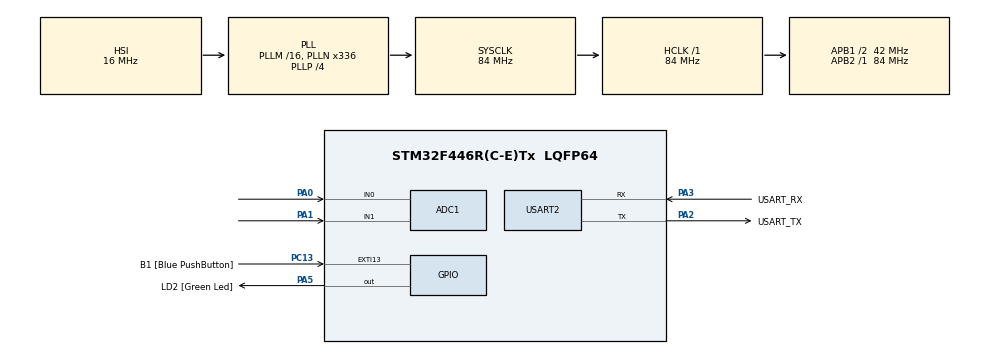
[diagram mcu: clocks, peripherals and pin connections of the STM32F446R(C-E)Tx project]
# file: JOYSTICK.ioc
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ADC1.Channel-4\#ChannelRegularConversion=ADC_CHANNEL_0
ADC1.Channel-5\#ChannelRegularConversion=ADC_CHANNEL_1
ADC1.ContinuousConvMode=ENABLE
ADC1.DMAContinuousRequests=ENABLE
ADC1.NbrOfConversion=2
ADC1.NbrOfConversionFlag=1
ADC1.Rank-4\#ChannelRegularConversion=1
ADC1.Rank-5\#ChannelRegularConversion=2
ADC1.SamplingTime-4\#ChannelRegularConversion=ADC_SAMPLETIME_480CYCLES
ADC1.SamplingTime-5\#ChannelRegularConversion=ADC_SAMPLETIME_480CYCLES
ADC1.ScanConvMode=ENABLE
ADC1.master=1
Dma.ADC1.0.Direction=DMA_PERIPH_TO_MEMORY
Dma.ADC1.0.FIFOMode=DMA_FIFOMODE_DISABLE
Dma.ADC1.0.Instance=DMA2_Stream0
Dma.ADC1.0.MemDataAlignment=DMA_MDATAALIGN_HALFWORD
Dma.ADC1.0.MemInc=DMA_MINC_ENABLE
Dma.ADC1.0.Mode=DMA_CIRCULAR
Dma.ADC1.0.PeriphDataAlignment=DMA_PDATAALIGN_HALFWORD
Dma.ADC1.0.PeriphInc=DMA_PINC_DISABLE
Dma.ADC1.0.Priority=DMA_PRIORITY_MEDIUM
Dma.Request0=ADC1
Mcu.Family=STM32F4
Mcu.Name=STM32F446R(C-E)Tx
Mcu.Package=LQFP64
NVIC.DMA2_Stream0_IRQn=true\:0\:0\:false\:false\:true\:false\:true\:true
NVIC.PriorityGroup=NVIC_PRIORITYGROUP_0
NVIC.TIM2_IRQn=true\:0\:0\:false\:false\:true\:true\:true\:true
PA0-WKUP.Signal=ADCx_IN0
PA1.Signal=ADCx_IN1
PA13.GPIO_Label=TMS
PA13.Mode=Serial_Wire
PA13.Signal=SYS_JTMS-SWDIO
PA14.GPIO_Label=TCK
PA14.Mode=Serial_Wire
PA14.Signal=SYS_JTCK-SWCLK
PA2.GPIO_Label=USART_TX
PA2.Mode=Asynchronous
PA2.Signal=USART2_TX
PA3.GPIO_Label=USART_RX
PA3.Mode=Asynchronous
PA3.Signal=USART2_RX
PA5.GPIO_Label=LD2 [Green Led]
PA5.Signal=GPIO_Output
PB3.GPIO_Label=SWO
PB3.Signal=SYS_JTDO-SWO
PC13.GPIO_Label=B1 [Blue PushButton]
PC13.GPIO_ModeDefaultEXTI=GPIO_MODE_IT_FALLING
PC13.Signal=GPXTI13
PC14-OSC32_IN.Signal=RCC_OSC32_IN
PC15-OSC32_OUT.Signal=RCC_OSC32_OUT
PH0-OSC_IN.Signal=RCC_OSC_IN
PH1-OSC_OUT.Signal=RCC_OSC_OUT
ProjectManager.HeapSize=0x200
ProjectManager.StackSize=0x400
ProjectManager.TargetToolchain=STM32CubeIDE
RCC.48MHZClocksFreq_Value=84000000
RCC.AHBFreq_Value=84000000
RCC.APB1CLKDivider=RCC_HCLK_DIV2
RCC.APB1Freq_Value=42000000
RCC.APB1TimFreq_Value=84000000
RCC.APB2Freq_Value=84000000
RCC.APB2TimFreq_Value=84000000
RCC.CortexFreq_Value=84000000
RCC.FLatency-AdvancedSettings=FLASH_LATENCY_2
RCC.HCLKFreq_Value=84000000
RCC.HSE_VALUE=8000000
RCC.HSI_VALUE=16000000
RCC.PLLN=336
RCC.PLLP=RCC_PLLP_DIV4
RCC.SYSCLKFreq_VALUE=84000000
RCC.SYSCLKSource=RCC_SYSCLKSOURCE_PLLCLK
RCC.USBFreq_Value=168000000
RCC.VCOOutputFreq_Value=336000000
SH.ADCx_IN0.0=ADC1_IN0,IN0
SH.ADCx_IN1.0=ADC1_IN1,IN1
TIM2.Period=499
TIM2.Prescaler=8399
USART2.VirtualMode=VM_ASYNC
VP_TIM2_VS_ClockSourceINT.Mode=Internal
board=NUCLEO-F446RE

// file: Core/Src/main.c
/* USER CODE BEGIN Header */
/**
  ******************************************************************************
  * @file           : main.c
  * @brief          : Main program body
  ******************************************************************************
  * @attention
  *
  * Copyright (c) 2026 STMicroelectronics.
  * All rights reserved.
  *
  * This software is licensed under terms that can be found in the LICENSE file
  * in the root directory of this software component.
  * If no LICENSE file comes with this software, it is provided AS-IS.
  *
  ******************************************************************************
  */
/* USER CODE END Header */
#include "main.h"

/* USER CODE BEGIN Includes */
#include <stdio.h>
#include <string.h>
/* USER CODE END Includes */

/* USER CODE BEGIN PD */
#define ADC_BUFFER_SIZE 2
#define FILTER_SIZE 8        // 이동평균 필터 크기
#define ADC_MAX_VALUE 4095   // 12bit ADC 최대값
#define DEADZONE_THRESHOLD 20  // 중앙 데드존 임계값 (%)
/* USER CODE END PD */

ADC_HandleTypeDef hadc1;
DMA_HandleTypeDef hdma_adc1;

TIM_HandleTypeDef htim2;

UART_HandleTypeDef huart2;

/* USER CODE BEGIN PV */
uint16_t adc_buffer[ADC_BUFFER_SIZE];  // DMA 버퍼
uint16_t joystick_x_raw = 0;           // 조이스틱 X축 원시값
uint16_t joystick_y_raw = 0;           // 조이스틱 Y축 원시값
// 이동평균 필터를 위한 배열
uint32_t x_filter_buffer[FILTER_SIZE] = {0};
uint32_t y_filter_buffer[FILTER_SIZE] = {0};
uint8_t filter_index = 0;

// 필터링된 값
uint16_t joystick_x_filtered = 0;
uint16_t joystick_y_filtered = 0;

// 백분율로 변환된 값 (-100 ~ +100)
int16_t joystick_x_percent = 0;
int16_t joystick_y_percent = 0;

// 방향 문자
char direction_char = 'X';
char prev_direction_char = 'X';

char uart_buffer[100];
/* USER CODE END PV */

void SystemClock_Config(void);
static void MX_GPIO_Init(void);
static void MX_DMA_Init(void);
static void MX_USART2_UART_Init(void);
static void MX_ADC1_Init(void);
static void MX_TIM2_Init(void);
/* USER CODE BEGIN PFP */
void process_joystick_data(void);
uint16_t apply_moving_average_filter(uint16_t new_value, uint32_t *filter_buffer);
int16_t convert_to_percentage(uint16_t adc_value);
char get_direction_char(int16_t x_percent, int16_t y_percent);
/* USER CODE END PFP */

/* USER CODE BEGIN 0 */
#ifdef __GNUC__
/* With GCC, small printf (option LD Linker->Libraries->Small printf
   set to 'Yes') calls __io_putchar() */
#define PUTCHAR_PROTOTYPE int __io_putchar(int ch)
#else
#define PUTCHAR_PROTOTYPE int fputc(int ch, FILE *f)
#endif /* __GNUC__ */

/**
  * @brief  Retargets the C library printf function to the USART.
  * @param  None
  * @retval None
  */
PUTCHAR_PROTOTYPE
{
  /* Place your implementation of fputc here */
  /* e.g. write a character to the USART1 and Loop until the end of transmission */
  if (ch == '\n')
    HAL_UART_Transmit (&huart2, (uint8_t*) "\r", 1, 0xFFFF);
  HAL_UART_Transmit (&huart2, (uint8_t*) &ch, 1, 0xFFFF);

  return ch;
}

///**
//  * @brief  이동평균 필터 적용
//  * @param  new_value: 새로운 ADC 값
//  * @param  filter_buffer: 필터 버퍼 포인터
//  * @retval 필터링된 값
//  */
//uint16_t apply_moving_average_filter(uint16_t new_value, uint32_t *filter_buffer)
//{
//    static uint8_t x_init = 0, y_init = 0;
//    uint32_t sum = 0;
//
//    // 필터 버퍼 구분 (X축 또는 Y축)
//    if (filter_buffer == x_filter_buffer) {
//        if (!x_init) {
//            // 초기화: 모든 버퍼를 첫 번째 값으로 채움
//            for (int i = 0; i < FILTER_SIZE; i++) {
//                filter_buffer[i] = new_value;
//            }
//            x_init = 1;
//            return new_value;
//        }
//    } else {
//        if (!y_init) {
//            // 초기화: 모든 버퍼를 첫 번째 값으로 채움
//            for (int i = 0; i < FILTER_SIZE; i++) {
//                filter_buffer[i] = new_value;
//            }
//            y_init = 1;
//            return new_value;
//        }
//    }
//
//    // 새로운 값을 버퍼에 추가
//    filter_buffer[filter_index] = new_value;
//
//    // 평균 계산
//    for (int i = 0; i < FILTER_SIZE; i++) {
//        sum += filter_buffer[i];
//    }
//
//    return (uint16_t)(sum / FILTER_SIZE);
//}
//
///**
//  * @brief  ADC 값을 백분율로 변환 (-100 ~ +100)
//  * @param  adc_value: ADC 값 (0 ~ 4095)
//  * @retval 백분율 값
//  */
////int16_t convert_to_percentage(uint16_t adc_value)
////{
////    // ADC 중앙값을 기준으로 -100 ~ +100으로 변환
////    int16_t centered_value = (int16_t)adc_value - (ADC_MAX_VALUE / 2);
////    int16_t percentage = (centered_value * 100) / (ADC_MAX_VALUE / 2);
////
////    // 범위 제한
////    if (percentage > 100) percentage = 100;
////    if (percentage < -100) percentage = -100;
////
////    return percentage;
////}
//
////#define JOY_MIN 600   // 조이스틱을 한쪽 끝으로 밀었을 때 나오는 최소값 (직접 확인 필요)
////#define JOY_MAX 3500  // 조이스틱을 반대쪽 끝으로 밀었을 때 나오는 최대값
////#define JOY_CENTER 2048 // 조이스틱 중앙값
////
////int16_t convert_to_percentage(uint16_t adc_value)
////{
////    int32_t result;
////
////    // 중앙값보다 클 때
////    if (adc_value > JOY_CENTER) {
////        result = ((int32_t)(adc_value - JOY_CENTER) * 100) / (JOY_MAX - JOY_CENTER);
////    }
////    // 중앙값보다 작을 때
////    else {
////        result = ((int32_t)(adc_value - JOY_CENTER) * 100) / (JOY_CENTER - JOY_MIN);
////    }
////
////    // 범위 제한
////    if (result > 100) result = 100;
////    if (result < -100) result = -100;
////
////    return (int16_t)result;
////}
//
////#define RAW_MIN 200    // 실제 조이스틱 최소값
////#define RAW_MAX 3800   // 실제 조이스틱 최대값
////#define RAW_CENTER 2048 // 실제 조이스틱 중앙값
////
////int16_t convert_to_percentage(uint16_t adc_value)
////{
////    int32_t percentage;
////
////    if (adc_value >= RAW_CENTER) {
////        // 중앙값 이상일 때: 0% ~ 100%
////        percentage = ((int32_t)(adc_value - RAW_CENTER) * 100) / (RAW_MAX - RAW_CENTER);
////    } else {
////        // 중앙값 미만일 때: 0% ~ -100%
////        percentage = ((int32_t)(adc_value - RAW_CENTER) * 100) / (RAW_CENTER - RAW_MIN);
////    }
////
////    if (percentage > 100) percentage = 100;
////    if (percentage < -100) percentage = -100;
////
////    return (int16_t)percentage;
////}
//
//// [수정된 설정값]
//// 중앙값은 2048, 4090에 도달하는 순간을 100%로 잡습니다.
//#define RAW_CENTER 2048
//#define RAW_MAX_EFFECTIVE 4090 // 절반만 밀어도 이미 4090이 나오는 지점
//#define RAW_MIN_EFFECTIVE 5    // 반대쪽 끝값 (확인해보고 수정하세요)
//
//int16_t convert_to_percentage(uint16_t adc_value)
//{
//    int32_t percentage;
//
//    // 4090을 넘어가면 강제로 100%로 고정 (클램핑)
//    if (adc_value > RAW_MAX_EFFECTIVE) adc_value = RAW_MAX_EFFECTIVE;
//    if (adc_value < RAW_MIN_EFFECTIVE) adc_value = RAW_MIN_EFFECTIVE;
//
//    if (adc_value >= RAW_CENTER) {
//        // 2048 ~ 4090 구간을 0 ~ 100%로 매핑
//        percentage = ((int32_t)(adc_value - RAW_CENTER) * 100) / (RAW_MAX_EFFECTIVE - RAW_CENTER);
//    } else {
//        // 반대쪽 구간 매핑
//        percentage = ((int32_t)(adc_value - RAW_CENTER) * 100) / (RAW_CENTER - RAW_MIN_EFFECTIVE);
//    }
//
//    return (int16_t)percentage;
//}
//
///**
//  * @brief  조이스틱 데이터 처리
//  * @param  None
//  * @retval None
//  */
//void process_joystick_data(void)
//{
//    // 원시 ADC 값 읽기
//    joystick_x_raw = adc_buffer[0];  // ADC Channel 0 (PA0)
//    joystick_y_raw = adc_buffer[1];  // ADC Channel 1 (PA1)
//
//    // 이동평균 필터 적용
//    joystick_x_filtered = apply_moving_average_filter(joystick_x_raw, x_filter_buffer);
//    joystick_y_filtered = apply_moving_average_filter(joystick_y_raw, y_filter_buffer);
//
//    // 필터 인덱스 업데이트 (두 축 공통 사용)
//    filter_index = (filter_index + 1) % FILTER_SIZE;
//
//    // 백분율로 변환
//    joystick_x_percent = convert_to_percentage(joystick_x_filtered);
//    joystick_y_percent = convert_to_percentage(joystick_y_filtered);
//}
//
///**
//  * @brief  타이머 콜백 함수 (주기적 ADC 읽기용)
//  * @param  htim: 타이머 핸들
//  * @retval None
//  */
//void HAL_TIM_PeriodElapsedCallback(TIM_HandleTypeDef *htim)
//{
//    if (htim->Instance == TIM2) {
//        // 조이스틱 데이터 처리
//        process_joystick_data();
//
//        // UART로 데이터 출력 (디버깅용)
//        printf("X: %d%% (%d), Y: %d%% (%d)\n",
//                joystick_x_percent, joystick_x_filtered,
//                joystick_y_percent, joystick_y_filtered);
//    }
//}

////////wsad//////////////////////////////////////////////////////////////////////////////////////////////////////

uint16_t apply_moving_average_filter(uint16_t new_value, uint32_t *filter_buffer)
{
    static uint8_t x_init = 0, y_init = 0;
    uint32_t sum = 0;

    if (filter_buffer == x_filter_buffer) {
        if (!x_init) {
            for (int i = 0; i < FILTER_SIZE; i++) {
                filter_buffer[i] = new_value;
            }
            x_init = 1;
            return new_value;
        }
    } else {
        if (!y_init) {
            for (int i = 0; i < FILTER_SIZE; i++) {
                filter_buffer[i] = new_value;
            }
            y_init = 1;
            return new_value;
        }
    }

    filter_buffer[filter_index] = new_value;

    for (int i = 0; i < FILTER_SIZE; i++) {
        sum += filter_buffer[i];
    }

    return (uint16_t)(sum / FILTER_SIZE);
}

int16_t convert_to_percentage(uint16_t adc_value)
{
    int16_t centered_value = (int16_t)adc_value - (ADC_MAX_VALUE / 2);
    int16_t percentage = (centered_value * 100) / (ADC_MAX_VALUE / 2);

    if (percentage > 100) percentage = 100;
    if (percentage < -100) percentage = -100;

    return percentage;
}

/**
  * @brief  조이스틱 위치에 따른 방향 문자 반환
  * @param  x_percent: X축 백분율 (-100 ~ +100), 좌(-) / 우(+)
  * @param  y_percent: Y축 백분율 (-100 ~ +100), 후(-) / 전(+)
  * @retval 방향 문자 (W/A/S/D/X)
  */
char get_direction_char(int16_t x_percent, int16_t y_percent)
{
    int16_t abs_x = (x_percent >= 0) ? x_percent : -x_percent;
    int16_t abs_y = (y_percent >= 0) ? y_percent : -y_percent;

    // 데드존 내부 = 중앙 (X)
    if (abs_x < DEADZONE_THRESHOLD && abs_y < DEADZONE_THRESHOLD) {
        return 'X';
    }

    // Y축이 더 크면 전진/후진 우선
    if (abs_y >= abs_x) {
        if (y_percent >= DEADZONE_THRESHOLD) {
            return 'W';  // 전진
        } else if (y_percent <= -DEADZONE_THRESHOLD) {
            return 'S';  // 후진
        }
    }

    // X축이 더 크면 좌회전/우회전
    if (abs_x > abs_y) {
        if (x_percent >= DEADZONE_THRESHOLD) {
            return 'D';  // 우회전
        } else if (x_percent <= -DEADZONE_THRESHOLD) {
            return 'A';  // 좌회전
        }
    }

    return 'X';  // 기본값: 중앙
}

void process_joystick_data(void)
{
    joystick_x_raw = adc_buffer[0];
    joystick_y_raw = adc_buffer[1];

    joystick_x_filtered = apply_moving_average_filter(joystick_x_raw, x_filter_buffer);
    joystick_y_filtered = apply_moving_average_filter(joystick_y_raw, y_filter_buffer);

    filter_index = (filter_index + 1) % FILTER_SIZE;

    joystick_x_percent = convert_to_percentage(joystick_x_filtered);
    joystick_y_percent = convert_to_percentage(joystick_y_filtered);

    // 방향 문자 결정
    direction_char = get_direction_char(joystick_x_percent, joystick_y_percent);
}

void HAL_TIM_PeriodElapsedCallback(TIM_HandleTypeDef *htim)
{
    if (htim->Instance == TIM2) {
        process_joystick_data();

        // 방향이 변경되었을 때만 출력 (또는 항상 출력하려면 조건 제거)
        if (direction_char != prev_direction_char) {
            printf("%c\n", direction_char);
            prev_direction_char = direction_char;
        }

        // 디버깅용: 항상 상세 정보 출력 (필요시 주석 해제)
        // printf("Dir: %c | X: %d%%, Y: %d%%\n",
        //        direction_char, joystick_x_percent, joystick_y_percent);
    }
}

/* USER CODE END 0 */

int main(void)
{

  /* MCU Configuration--------------------------------------------------------*/

  /* Reset of all peripherals, Initializes the Flash interface and the Systick. */
  HAL_Init();

  /* Configure the system clock */
  SystemClock_Config();

  /* Initialize all configured peripherals */
  MX_GPIO_Init();
  MX_DMA_Init();
  MX_USART2_UART_Init();
  MX_ADC1_Init();
  MX_TIM2_Init();
  /* USER CODE BEGIN 2 */
  if (HAL_DMA_Init(&hdma_adc1) != HAL_OK) {
        Error_Handler();
    }

    // ADC1 핸들과 DMA 링크
    __HAL_LINKDMA(&hadc1, DMA_Handle, hdma_adc1);

    // ADC 캘리브레이션
  //  HAL_ADCEx_Calibration_Start(&hadc1);

    // DMA를 사용한 연속 ADC 변환 시작
    HAL_ADC_Start_DMA(&hadc1, (uint32_t*)adc_buffer, ADC_BUFFER_SIZE);

    // 타이머 시작 (50ms 주기로 데이터 처리)
    HAL_TIM_Base_Start_IT(&htim2);

    // 시작 메시지
    printf("STM32F103 조이스틱 ADC 읽기 시작\n");
  /* USER CODE END 2 */

  /* Infinite loop */
  while (1)
  {

    /* USER CODE BEGIN 3 */
	  HAL_Delay(10);  // 메인 루프 딜레이
  }
  /* USER CODE END 3 */
}

void SystemClock_Config(void)
{
  RCC_OscInitTypeDef RCC_OscInitStruct = {0};
  RCC_ClkInitTypeDef RCC_ClkInitStruct = {0};

  /** Configure the main internal regulator output voltage
  */
  __HAL_RCC_PWR_CLK_ENABLE();
  __HAL_PWR_VOLTAGESCALING_CONFIG(PWR_REGULATOR_VOLTAGE_SCALE3);

  /** Initializes the RCC Oscillators according to the specified parameters
  * in the RCC_OscInitTypeDef structure.
  */
  RCC_OscInitStruct.OscillatorType = RCC_OSCILLATORTYPE_HSI;
  RCC_OscInitStruct.HSIState = RCC_HSI_ON;
  RCC_OscInitStruct.HSICalibrationValue = RCC_HSICALIBRATION_DEFAULT;
  RCC_OscInitStruct.PLL.PLLState = RCC_PLL_ON;
  RCC_OscInitStruct.PLL.PLLSource = RCC_PLLSOURCE_HSI;
  RCC_OscInitStruct.PLL.PLLM = 16;
  RCC_OscInitStruct.PLL.PLLN = 336;
  RCC_OscInitStruct.PLL.PLLP = RCC_PLLP_DIV4;
  RCC_OscInitStruct.PLL.PLLQ = 2;
  RCC_OscInitStruct.PLL.PLLR = 2;
  if (HAL_RCC_OscConfig(&RCC_OscInitStruct) != HAL_OK)
  {
    Error_Handler();
  }

  /** Initializes the CPU, AHB and APB buses clocks
  */
  RCC_ClkInitStruct.ClockType = RCC_CLOCKTYPE_HCLK|RCC_CLOCKTYPE_SYSCLK
                              |RCC_CLOCKTYPE_PCLK1|RCC_CLOCKTYPE_PCLK2;
  RCC_ClkInitStruct.SYSCLKSource = RCC_SYSCLKSOURCE_PLLCLK;
  RCC_ClkInitStruct.AHBCLKDivider = RCC_SYSCLK_DIV1;
  RCC_ClkInitStruct.APB1CLKDivider = RCC_HCLK_DIV2;
  RCC_ClkInitStruct.APB2CLKDivider = RCC_HCLK_DIV1;

  if (HAL_RCC_ClockConfig(&RCC_ClkInitStruct, FLASH_LATENCY_2) != HAL_OK)
  {
    Error_Handler();
  }
}

static void MX_ADC1_Init(void)
{

  ADC_ChannelConfTypeDef sConfig = {0};

  /** Configure the global features of the ADC (Clock, Resolution, Data Alignment and number of conversion)
  */
  hadc1.Instance = ADC1;
  hadc1.Init.ClockPrescaler = ADC_CLOCK_SYNC_PCLK_DIV4;
  hadc1.Init.Resolution = ADC_RESOLUTION_12B;
  hadc1.Init.ScanConvMode = ENABLE;
  hadc1.Init.ContinuousConvMode = ENABLE;
  hadc1.Init.DiscontinuousConvMode = DISABLE;
  hadc1.Init.ExternalTrigConvEdge = ADC_EXTERNALTRIGCONVEDGE_NONE;
  hadc1.Init.ExternalTrigConv = ADC_SOFTWARE_START;
  hadc1.Init.DataAlign = ADC_DATAALIGN_RIGHT;
  hadc1.Init.NbrOfConversion = 2;
  hadc1.Init.DMAContinuousRequests = ENABLE;
  hadc1.Init.EOCSelection = ADC_EOC_SINGLE_CONV;
  if (HAL_ADC_Init(&hadc1) != HAL_OK)
  {
    Error_Handler();
  }

  /** Configure for the selected ADC regular channel its corresponding rank in the sequencer and its sample time.
  */
  sConfig.Channel = ADC_CHANNEL_0;
  sConfig.Rank = 1;
  sConfig.SamplingTime = ADC_SAMPLETIME_480CYCLES;
  if (HAL_ADC_ConfigChannel(&hadc1, &sConfig) != HAL_OK)
  {
    Error_Handler();
  }

  /** Configure for the selected ADC regular channel its corresponding rank in the sequencer and its sample time.
  */
  sConfig.Channel = ADC_CHANNEL_1;
  sConfig.Rank = 2;
  if (HAL_ADC_ConfigChannel(&hadc1, &sConfig) != HAL_OK)
  {
    Error_Handler();
  }

}

static void MX_TIM2_Init(void)
{

  TIM_ClockConfigTypeDef sClockSourceConfig = {0};
  TIM_MasterConfigTypeDef sMasterConfig = {0};

  htim2.Instance = TIM2;
  htim2.Init.Prescaler = 8399;
  htim2.Init.CounterMode = TIM_COUNTERMODE_UP;
  htim2.Init.Period = 499;
  htim2.Init.ClockDivision = TIM_CLOCKDIVISION_DIV1;
  htim2.Init.AutoReloadPreload = TIM_AUTORELOAD_PRELOAD_DISABLE;
  if (HAL_TIM_Base_Init(&htim2) != HAL_OK)
  {
    Error_Handler();
  }
  sClockSourceConfig.ClockSource = TIM_CLOCKSOURCE_INTERNAL;
  if (HAL_TIM_ConfigClockSource(&htim2, &sClockSourceConfig) != HAL_OK)
  {
    Error_Handler();
  }
  sMasterConfig.MasterOutputTrigger = TIM_TRGO_RESET;
  sMasterConfig.MasterSlaveMode = TIM_MASTERSLAVEMODE_DISABLE;
  if (HAL_TIMEx_MasterConfigSynchronization(&htim2, &sMasterConfig) != HAL_OK)
  {
    Error_Handler();
  }

}

static void MX_USART2_UART_Init(void)
{

  huart2.Instance = USART2;
  huart2.Init.BaudRate = 115200;
  huart2.Init.WordLength = UART_WORDLENGTH_8B;
  huart2.Init.StopBits = UART_STOPBITS_1;
  huart2.Init.Parity = UART_PARITY_NONE;
  huart2.Init.Mode = UART_MODE_TX_RX;
  huart2.Init.HwFlowCtl = UART_HWCONTROL_NONE;
  huart2.Init.OverSampling = UART_OVERSAMPLING_16;
  if (HAL_UART_Init(&huart2) != HAL_OK)
  {
    Error_Handler();
  }

}

static void MX_DMA_Init(void)
{

  /* DMA controller clock enable */
  __HAL_RCC_DMA2_CLK_ENABLE();

  /* DMA interrupt init */
  /* DMA2_Stream0_IRQn interrupt configuration */
  HAL_NVIC_SetPriority(DMA2_Stream0_IRQn, 0, 0);
  HAL_NVIC_EnableIRQ(DMA2_Stream0_IRQn);

}

static void MX_GPIO_Init(void)
{
  GPIO_InitTypeDef GPIO_InitStruct = {0};

  /* GPIO Ports Clock Enable */
  __HAL_RCC_GPIOC_CLK_ENABLE();
  __HAL_RCC_GPIOH_CLK_ENABLE();
  __HAL_RCC_GPIOA_CLK_ENABLE();
  __HAL_RCC_GPIOB_CLK_ENABLE();

  /*Configure GPIO pin Output Level */
  HAL_GPIO_WritePin(LD2_GPIO_Port, LD2_Pin, GPIO_PIN_RESET);

  /*Configure GPIO pin : B1_Pin */
  GPIO_InitStruct.Pin = B1_Pin;
  GPIO_InitStruct.Mode = GPIO_MODE_IT_FALLING;
  GPIO_InitStruct.Pull = GPIO_NOPULL;
  HAL_GPIO_Init(B1_GPIO_Port, &GPIO_InitStruct);

  /*Configure GPIO pin : LD2_Pin */
  GPIO_InitStruct.Pin = LD2_Pin;
  GPIO_InitStruct.Mode = GPIO_MODE_OUTPUT_PP;
  GPIO_InitStruct.Pull = GPIO_NOPULL;
  GPIO_InitStruct.Speed = GPIO_SPEED_FREQ_LOW;
  HAL_GPIO_Init(LD2_GPIO_Port, &GPIO_InitStruct);

}

void Error_Handler(void)
{
  __disable_irq();
  while (1)
  {
  }
}
